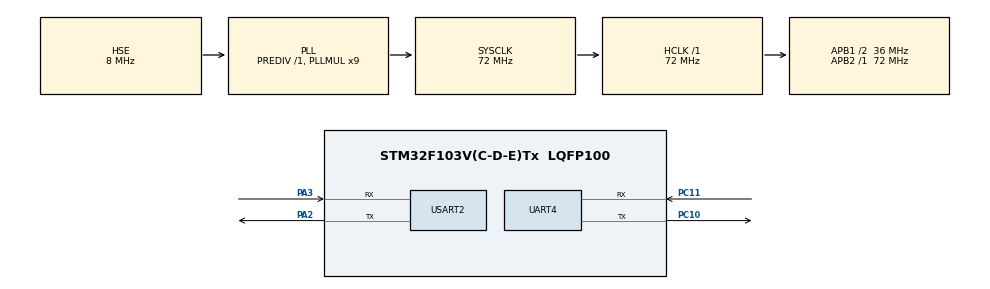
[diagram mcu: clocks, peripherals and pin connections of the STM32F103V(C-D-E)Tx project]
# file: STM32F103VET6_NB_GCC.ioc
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Mcu.Family=STM32F1
Mcu.Name=STM32F103V(C-D-E)Tx
Mcu.Package=LQFP100
NVIC.PriorityGroup=NVIC_PRIORITYGROUP_4
OSC_IN.Mode=HSE-External-Oscillator
OSC_IN.Signal=RCC_OSC_IN
OSC_OUT.Mode=HSE-External-Oscillator
OSC_OUT.Signal=RCC_OSC_OUT
PA13.Mode=Serial_Wire
PA13.Signal=SYS_JTMS-SWDIO
PA14.Mode=Serial_Wire
PA14.Signal=SYS_JTCK-SWCLK
PA2.Mode=Asynchronous
PA2.Signal=USART2_TX
PA3.Mode=Asynchronous
PA3.Signal=USART2_RX
PC10.Mode=Asynchronous
PC10.Signal=UART4_TX
PC11.Mode=Asynchronous
PC11.Signal=UART4_RX
ProjectManager.HeapSize=0x200
ProjectManager.StackSize=0x400
ProjectManager.TargetToolchain=Makefile
RCC.AHBFreq_Value=72000000
RCC.APB1CLKDivider=RCC_HCLK_DIV2
RCC.APB1Freq_Value=36000000
RCC.APB1TimFreq_Value=72000000
RCC.APB2Freq_Value=72000000
RCC.APB2TimFreq_Value=72000000
RCC.HCLKFreq_Value=72000000
RCC.PLLMUL=RCC_PLL_MUL9
RCC.PLLSourceVirtual=RCC_PLLSOURCE_HSE
RCC.SYSCLKFreq_VALUE=72000000
RCC.SYSCLKSource=RCC_SYSCLKSOURCE_PLLCLK
RCC.USBFreq_Value=72000000
UART4.VirtualMode=Asynchronous
USART2.VirtualMode=VM_ASYNC
board=STM32F103VET6_NB_GCC

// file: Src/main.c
/*----------------------------------------------------------------------------
 * Copyright (c) <2016-2018>, <Huawei Technologies Co., Ltd>
 * All rights reserved.
 * Redistribution and use in source and binary forms, with or without modification,
 * are permitted provided that the following conditions are met:
 * 1. Redistributions of source code must retain the above copyright notice, this list of
 * conditions and the following disclaimer.
 * 2. Redistributions in binary form must reproduce the above copyright notice, this list
 * of conditions and the following disclaimer in the documentation and/or other materials
 * provided with the distribution.
 * 3. Neither the name of the copyright holder nor the names of its contributors may be used
 * to endorse or promote products derived from this software without specific prior written
 * permission.
 * THIS SOFTWARE IS PROVIDED BY THE COPYRIGHT HOLDERS AND CONTRIBUTORS
 * "AS IS" AND ANY EXPRESS OR IMPLIED WARRANTIES, INCLUDING, BUT NOT LIMITED TO,
 * THE IMPLIED WARRANTIES OF MERCHANTABILITY AND FITNESS FOR A PARTICULAR
 * PURPOSE ARE DISCLAIMED. IN NO EVENT SHALL THE COPYRIGHT HOLDER OR
 * CONTRIBUTORS BE LIABLE FOR ANY DIRECT, INDIRECT, INCIDENTAL, SPECIAL,
 * EXEMPLARY, OR CONSEQUENTIAL DAMAGES (INCLUDING, BUT NOT LIMITED TO,
 * PROCUREMENT OF SUBSTITUTE GOODS OR SERVICES; LOSS OF USE, DATA, OR PROFITS;
 * OR BUSINESS INTERRUPTION) HOWEVER CAUSED AND ON ANY THEORY OF LIABILITY,
 * WHETHER IN CONTRACT, STRICT LIABILITY, OR TORT (INCLUDING NEGLIGENCE OR
 * OTHERWISE) ARISING IN ANY WAY OUT OF THE USE OF THIS SOFTWARE, EVEN IF
 * ADVISED OF THE POSSIBILITY OF SUCH DAMAGE.
 *---------------------------------------------------------------------------*/
/*----------------------------------------------------------------------------
 * Notice of Export Control Law
 * ===============================================
 * Huawei LiteOS may be subject to applicable export control laws and regulations, which might
 * include those applicable to Huawei LiteOS of U.S. and the country in which you are located.
 * Import, export and usage of Huawei LiteOS in any manner by you shall be in compliance with such
 * applicable export control laws and regulations.
 *---------------------------------------------------------------------------*/
#include "main.h"
#include "stm32f1xx_hal.h"

/* USER CODE BEGIN Includes */
#include "los_base.h"
#include "los_sys.h"
#include "los_typedef.h"
#include "los_task.ph"
#if defined WITH_AT_FRAMEWORK
#include "at_frame/at_api.h"
#if defined USE_NB_NEUL95
#include "nb_iot/los_nb_api.h"
#include "at_device/bc95.h"
#endif
#endif

/* USER CODE END Includes */

UART_HandleTypeDef huart4;
UART_HandleTypeDef huart2;

/* USER CODE BEGIN PV */
/* Private variables ---------------------------------------------------------*/
UINT32 g_TskHandle;
/* USER CODE END PV */

void SystemClock_Config(void);
static void MX_GPIO_Init(void);
static void MX_USART2_UART_Init(void);
static void MX_UART4_Init(void);

/* USER CODE BEGIN PFP */
/* Private function prototypes -----------------------------------------------*/

/* USER CODE END PFP */

/* USER CODE BEGIN 0 */
void task1(void)
{
	int count = 1;
	while (1)
  {
		printf("This is task1,count is %d\r\n",count++);
		LOS_TaskDelay(1000);
  }
}
UINT32 creat_task1()
{
    UINT32 uwRet = LOS_OK;
    TSK_INIT_PARAM_S task_init_param;

    task_init_param.usTaskPrio = 0;
    task_init_param.pcName = "task1";
    task_init_param.pfnTaskEntry = (TSK_ENTRY_FUNC)task1;
    task_init_param.uwStackSize = 0x200;

    uwRet = LOS_TaskCreate(&g_TskHandle, &task_init_param);
    if(LOS_OK != uwRet)
    {
        return uwRet;
    }
    return uwRet;
}

void task2(void)
{
	int count = 1;
	while (1)
  {
		printf("This is task2,count is %d\r\n",count++);
		LOS_TaskDelay(2000);
  }
}
UINT32 creat_task2()
{
    UINT32 uwRet = LOS_OK;
    TSK_INIT_PARAM_S task_init_param;

    task_init_param.usTaskPrio = 1;
    task_init_param.pcName = "task2";
    task_init_param.pfnTaskEntry = (TSK_ENTRY_FUNC)task2;
    task_init_param.uwStackSize = 0x200;

    uwRet = LOS_TaskCreate(&g_TskHandle, &task_init_param);
    if(LOS_OK != uwRet)
    {
        return uwRet;
    }
    return uwRet;
}

VOID main_task(VOID)
{

#define AT_DTLS 0
#if AT_DTLS
    sec_param_s sec;
    sec.setpsk = 1;
    sec.pskid = "868744031131026";//"868744031135142"
    sec.psk = "d1e1be0c05ac5b8c78ce196412f0cdb0";
#endif
    printf("\r\n=====================================================");
    printf("\r\nSTEP1: Init NB Module( NB Init )");
    printf("\r\n=====================================================\r\n");
#if AT_DTLS
    los_nb_init((const int8_t *)"180.101.147.115", (const int8_t *)"5684", &sec);
#else
    los_nb_init((const int8_t *)"139.159.140.34", (const int8_t *)"5683", NULL); //"139.159.140.34"
#endif
    printf("\r\n=====================================================");
    printf("\r\nSTEP2: Register Command( NB Notify )");
    printf("\r\n=====================================================\r\n");
    //los_nb_notify("+NNMI:",strlen("+NNMI:"),nb_data_rcv_handler);
    //osDelay(3000);
    printf("\r\n=====================================================");
    printf("\r\nSTEP3: Report Data to Server( NB Report )");
    printf("\r\n=====================================================\r\n");
    los_nb_report("22", 2);
    los_nb_report("23", 1);
    unsigned char buf[5] = {0x1,0x2,0x3,0x4,0x5};
    los_nb_report((char *)buf, 5);

}
UINT32 creat_main_task()
{
    UINT32 uwRet = LOS_OK;
    TSK_INIT_PARAM_S task_init_param;

    task_init_param.usTaskPrio = 2;
    task_init_param.pcName = "main_task";
    task_init_param.pfnTaskEntry = (TSK_ENTRY_FUNC)main_task;

#ifdef CONFIG_FEATURE_FOTA
    task_init_param.uwStackSize = 0x2000; /* fota use mbedtls bignum to verify signature  consuming more stack  */
#else
    task_init_param.uwStackSize = 0x2000;
#endif

    uwRet = LOS_TaskCreate(&g_TskHandle, &task_init_param);
    if(LOS_OK != uwRet)
    {
        return uwRet;
    }
    return uwRet;
}

/* USER CODE END 0 */

int main(void)
{

  /* MCU Configuration----------------------------------------------------------*/

  /* Reset of all peripherals, Initializes the Flash interface and the Systick. */
  HAL_Init();

  /* Configure the system clock */
  SystemClock_Config();

  /* Initialize all configured peripherals */
  MX_GPIO_Init();
  MX_USART2_UART_Init();
  MX_UART4_Init();
  /* USER CODE BEGIN 2 */

  UINT32 uwRet = 0;
  uwRet = LOS_KernelInit();

  if (uwRet != LOS_OK)
  {
      return LOS_NOK;
  }
#if 0
  uwRet = creat_task1();
  if (uwRet != LOS_OK)
  {
      return LOS_NOK;
  }
  uwRet = creat_task2();
  if (uwRet != LOS_OK)
  {
      return LOS_NOK;
  }
#endif

	printf("start main task!!\n");
	uwRet = creat_main_task();
	if (uwRet != LOS_OK)
	{
	    return LOS_NOK;
	}

    (void)LOS_Start();

}

void SystemClock_Config(void)
{

  RCC_OscInitTypeDef RCC_OscInitStruct;
  RCC_ClkInitTypeDef RCC_ClkInitStruct;

    /**Initializes the CPU, AHB and APB busses clocks
    */
  RCC_OscInitStruct.OscillatorType = RCC_OSCILLATORTYPE_HSE;
  RCC_OscInitStruct.HSEState = RCC_HSE_ON;
  RCC_OscInitStruct.HSEPredivValue = RCC_HSE_PREDIV_DIV1;
  RCC_OscInitStruct.HSIState = RCC_HSI_ON;
  RCC_OscInitStruct.PLL.PLLState = RCC_PLL_ON;
  RCC_OscInitStruct.PLL.PLLSource = RCC_PLLSOURCE_HSE;
  RCC_OscInitStruct.PLL.PLLMUL = RCC_PLL_MUL9;
  if (HAL_RCC_OscConfig(&RCC_OscInitStruct) != HAL_OK)
  {
    _Error_Handler(__FILE__, __LINE__);
  }

    /**Initializes the CPU, AHB and APB busses clocks
    */
  RCC_ClkInitStruct.ClockType = RCC_CLOCKTYPE_HCLK|RCC_CLOCKTYPE_SYSCLK
                              |RCC_CLOCKTYPE_PCLK1|RCC_CLOCKTYPE_PCLK2;
  RCC_ClkInitStruct.SYSCLKSource = RCC_SYSCLKSOURCE_PLLCLK;
  RCC_ClkInitStruct.AHBCLKDivider = RCC_SYSCLK_DIV1;
  RCC_ClkInitStruct.APB1CLKDivider = RCC_HCLK_DIV2;
  RCC_ClkInitStruct.APB2CLKDivider = RCC_HCLK_DIV1;

  if (HAL_RCC_ClockConfig(&RCC_ClkInitStruct, FLASH_LATENCY_2) != HAL_OK)
  {
    _Error_Handler(__FILE__, __LINE__);
  }

    /**Configure the Systick interrupt time
    */
  HAL_SYSTICK_Config(HAL_RCC_GetHCLKFreq()/1000);

    /**Configure the Systick
    */
  HAL_SYSTICK_CLKSourceConfig(SYSTICK_CLKSOURCE_HCLK);

  /* SysTick_IRQn interrupt configuration */
  HAL_NVIC_SetPriority(SysTick_IRQn, 0, 0);
}

/* UART4 init function */
static void MX_UART4_Init(void)
{

  huart4.Instance = UART4;
  huart4.Init.BaudRate = 115200;
  huart4.Init.WordLength = UART_WORDLENGTH_8B;
  huart4.Init.StopBits = UART_STOPBITS_1;
  huart4.Init.Parity = UART_PARITY_NONE;
  huart4.Init.Mode = UART_MODE_TX_RX;
  huart4.Init.HwFlowCtl = UART_HWCONTROL_NONE;
  huart4.Init.OverSampling = UART_OVERSAMPLING_16;
  if (HAL_UART_Init(&huart4) != HAL_OK)
  {
    _Error_Handler(__FILE__, __LINE__);
  }

}

/* USART2 init function */
static void MX_USART2_UART_Init(void)
{

  huart2.Instance = USART2;
  huart2.Init.BaudRate = 115200;
  huart2.Init.WordLength = UART_WORDLENGTH_8B;
  huart2.Init.StopBits = UART_STOPBITS_1;
  huart2.Init.Parity = UART_PARITY_NONE;
  huart2.Init.Mode = UART_MODE_TX_RX;
  huart2.Init.HwFlowCtl = UART_HWCONTROL_NONE;
  huart2.Init.OverSampling = UART_OVERSAMPLING_16;
  if (HAL_UART_Init(&huart2) != HAL_OK)
  {
    _Error_Handler(__FILE__, __LINE__);
  }

}

/** Configure pins as
        * Analog
        * Input
        * Output
        * EVENT_OUT
        * EXTI
*/
static void MX_GPIO_Init(void)
{

  /* GPIO Ports Clock Enable */
  __HAL_RCC_GPIOA_CLK_ENABLE();
  __HAL_RCC_GPIOC_CLK_ENABLE();

}

void _Error_Handler(char *file, int line)
{
  while(1)
  {
  }
}

/************************ (C) COPYRIGHT STMicroelectronics *****END OF FILE****/
